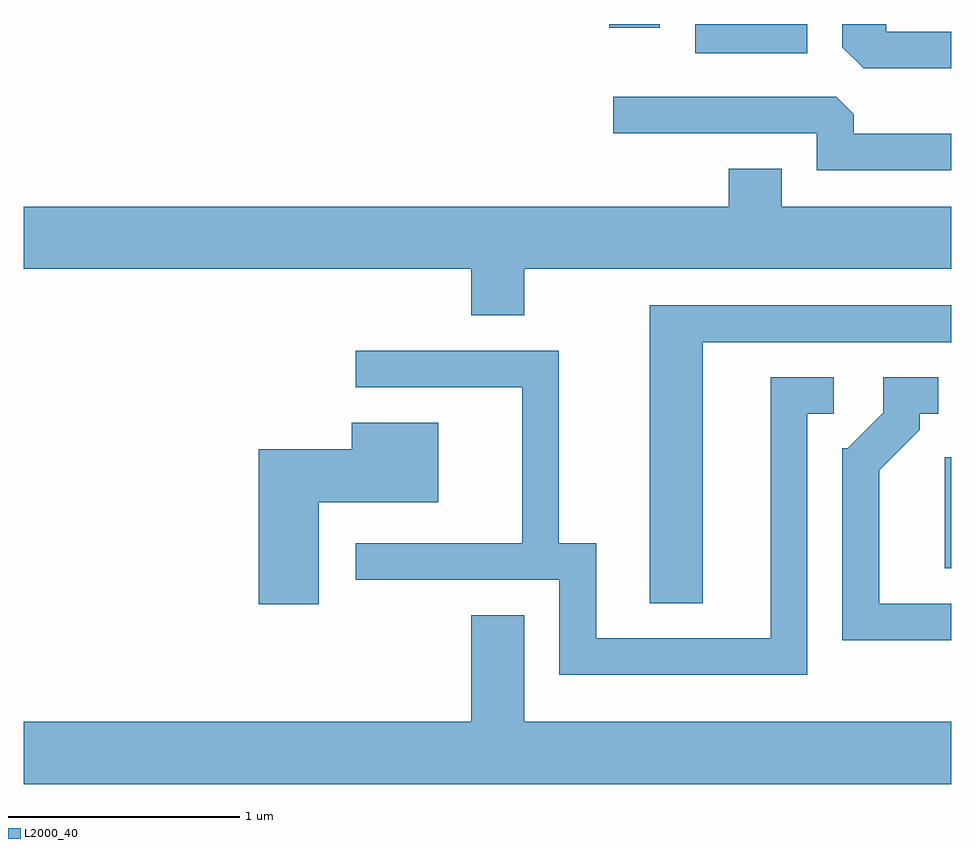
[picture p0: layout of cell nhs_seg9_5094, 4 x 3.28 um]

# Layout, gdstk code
import gdstk
lib = gdstk.Library(unit=1e-6, precision=1e-09)
def R(c, l, rs):  # rectangles x0, y0, x1, y1
    for r in rs: c.add(gdstk.rectangle(r[:2], r[2:], *l))
def P(c, l, *ps):  # polygons
    for p in ps: c.add(gdstk.Polygon(p, *l))
L2000_40 = (2000, 40)

nhs_seg9_5094 = lib.new_cell('nhs_seg9_5094')
R(nhs_seg9_5094, L2000_40, [(339.581,1986.086,339.611,1986.564), (338.506,1988.306,338.989,1988.432), (338.136,1988.416,338.354,1988.432)])
P(nhs_seg9_5094, L2000_40, [(339.611,1988.399),(339.329,1988.399),(339.329,1988.432),(339.141,1988.432),(339.141,1988.332),(339.232,1988.241),(339.611,1988.241)],
  [(339.611,1987.959),(339.189,1987.959),(339.189,1988.044),(339.114,1988.119),(338.153,1988.119),(338.153,1987.961),(339.031,1987.961),(339.031,1987.801),(339.611,1987.801)],
  [(337.769,1987.376),(339.611,1987.376),(339.611,1987.644),(338.879,1987.644),(338.879,1987.809),(338.651,1987.809),(338.651,1987.644),(335.611,1987.644),(335.611,1987.376),(337.541,1987.376),(337.541,1987.176),(337.769,1987.176)],
  [(338.539,1987.061),(339.609,1987.061),(339.611,1987.059),(339.611,1987.219),(338.311,1987.219),(338.311,1985.936),(338.539,1985.936)],
  [(338.989,1986.751),(339.103,1986.751),(339.103,1986.909),(338.831,1986.909),(338.831,1985.784),(338.079,1985.784),(338.079,1986.194),(337.919,1986.194),(337.919,1987.024),(337.043,1987.024),(337.043,1986.866),(337.761,1986.866),(337.761,1986.194),(337.043,1986.194),(337.043,1986.036),(337.921,1986.036),(337.921,1985.626),(338.989,1985.626)],
  [(339.611,1985.934),(339.299,1985.934),(339.299,1986.509),(339.474,1986.684),(339.474,1986.751),(339.553,1986.751),(339.553,1986.909),(339.316,1986.909),(339.316,1986.757),(339.164,1986.604),(339.141,1986.604),(339.141,1985.776),(339.611,1985.776)],
  [(336.884,1986.371),(337.399,1986.371),(337.399,1986.714),(337.026,1986.714),(337.026,1986.599),(336.626,1986.599),(336.626,1985.931),(336.884,1985.931)],
  [(339.611,1985.424),(337.769,1985.424),(337.769,1985.884),(337.541,1985.884),(337.541,1985.424),(335.611,1985.424),(335.611,1985.156),(339.611,1985.156)])

lib.write_gds('nhs_seg9_5094.gds')
